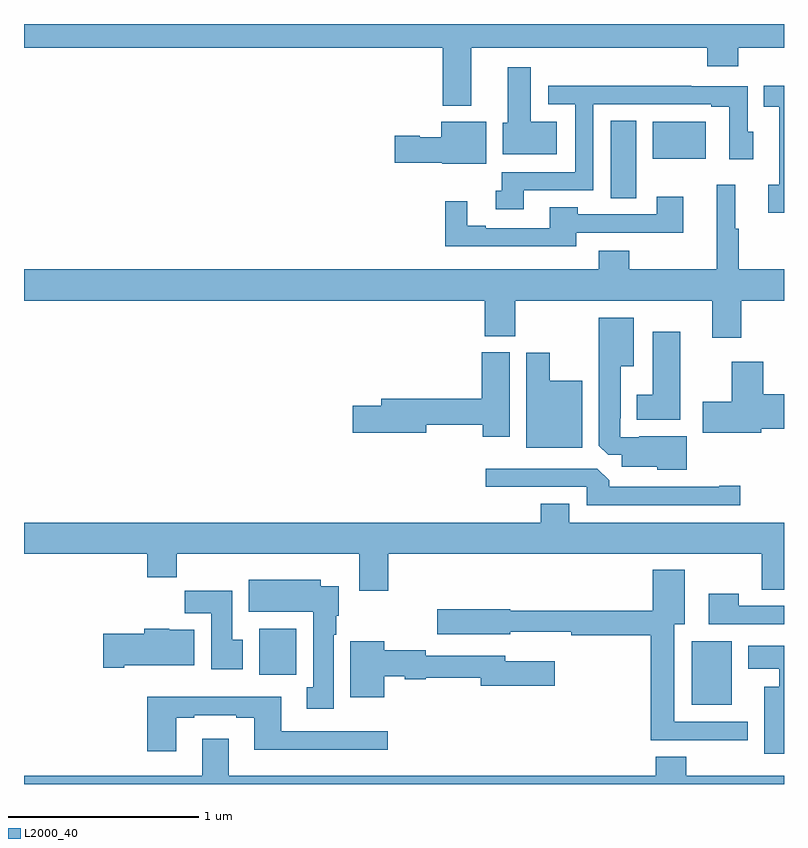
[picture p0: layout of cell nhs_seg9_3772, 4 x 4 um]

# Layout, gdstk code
import gdstk
lib = gdstk.Library(unit=1e-6, precision=1e-09)
def R(c, l, rs):  # rectangles x0, y0, x1, y1
    for r in rs: c.add(gdstk.rectangle(r[:2], r[2:], *l))
def P(c, l, *ps):  # polygons
    for p in ps: c.add(gdstk.Polygon(p, *l))
L2000_40 = (2000, 40)

nhs_seg9_3772 = lib.new_cell('nhs_seg9_3772')
R(nhs_seg9_3772, L2000_40, [(328.514,1236.917,328.726,1237.252), (326.237,1237.076,326.434,1237.318), (328.088,1239.583,328.222,1239.992), (328.31,1239.791,328.588,1239.985)])
P(nhs_seg9_3772, L2000_40, [(327.355,1240.376),(328.595,1240.376),(328.595,1240.277),(328.76,1240.277),(328.76,1240.376),(329,1240.376),(329,1240.5),(325,1240.5),(325,1240.376),(327.203,1240.376),(327.203,1240.071),(327.355,1240.071)],
  [(327.805,1239.985),(327.667,1239.985),(327.667,1240.273),(327.545,1240.273),(327.545,1239.981),(327.521,1239.981),(327.521,1239.815),(327.805,1239.815)],
  [(329,1240.175),(328.894,1240.175),(328.894,1240.065),(328.976,1240.065),(328.976,1239.654),(328.917,1239.654),(328.917,1239.506),(329,1239.506)],
  [(327.631,1239.624),(327.996,1239.624),(327.996,1240.077),(328.616,1240.077),(328.616,1240.065),(328.713,1240.065),(328.713,1239.789),(328.837,1239.789),(328.837,1239.933),(328.809,1239.933),(328.809,1240.173),(328.511,1240.173),(328.511,1240.175),(327.759,1240.175),(327.759,1240.077),(327.9,1240.077),(327.9,1239.72),(327.514,1239.72),(327.514,1239.623),(327.483,1239.623),(327.483,1239.525),(327.631,1239.525)],
  [(327.433,1239.985),(327.197,1239.985),(327.197,1239.904),(327.083,1239.904),(327.083,1239.912),(326.952,1239.912),(326.952,1239.77),(327.201,1239.77),(327.201,1239.764),(327.433,1239.764)],
  [(328.775,1239.044),(329,1239.044),(329,1239.208),(328.763,1239.208),(328.763,1239.423),(328.744,1239.423),(328.744,1239.655),(328.646,1239.655),(328.646,1239.208),(328.185,1239.208),(328.185,1239.307),(328.025,1239.307),(328.025,1239.208),(325,1239.208),(325,1239.044),(327.425,1239.044),(327.425,1238.857),(327.585,1238.857),(327.585,1239.044),(328.622,1239.044),(328.622,1238.85),(328.775,1238.85)],
  [(327.907,1239.402),(328.471,1239.402),(328.471,1239.592),(328.331,1239.592),(328.331,1239.498),(327.915,1239.498),(327.915,1239.535),(327.767,1239.535),(327.767,1239.426),(327.43,1239.426),(327.43,1239.439),(327.334,1239.439),(327.334,1239.568),(327.217,1239.568),(327.217,1239.33),(327.907,1239.33)],
  [(328.489,1238.329),(328.237,1238.329),(328.237,1238.325),(328.137,1238.325),(328.137,1238.425),(328.141,1238.425),(328.141,1238.699),(328.21,1238.699),(328.21,1238.953),(328.025,1238.953),(328.025,1238.281),(328.074,1238.232),(328.145,1238.232),(328.145,1238.171),(328.332,1238.171),(328.332,1238.153),(328.489,1238.153)],
  [(328.453,1238.881),(328.31,1238.881),(328.31,1238.548),(328.226,1238.548),(328.226,1238.417),(328.453,1238.417)],
  [(327.556,1238.772),(327.41,1238.772),(327.41,1238.528),(326.879,1238.528),(326.879,1238.492),(326.73,1238.492),(326.73,1238.35),(327.118,1238.35),(327.118,1238.392),(327.415,1238.392),(327.415,1238.328),(327.556,1238.328)],
  [(327.937,1238.623),(327.766,1238.623),(327.766,1238.77),(327.644,1238.77),(327.644,1238.27),(327.937,1238.27)],
  [(328.879,1238.369),(329,1238.369),(329,1238.552),(328.892,1238.552),(328.892,1238.722),(328.724,1238.722),(328.724,1238.511),(328.572,1238.511),(328.572,1238.348),(328.879,1238.348)],
  [(328.771,1238.069),(328.658,1238.069),(328.658,1238.064),(328.079,1238.064),(328.079,1238.098),(328.017,1238.16),(327.429,1238.16),(327.429,1238.064),(327.963,1238.064),(327.963,1237.968),(328.771,1237.968)],
  [(326.918,1237.712),(328.882,1237.712),(328.882,1237.522),(329,1237.522),(329,1237.876),(327.871,1237.876),(327.871,1237.975),(327.719,1237.975),(327.719,1237.876),(325,1237.876),(325,1237.712),(325.649,1237.712),(325.649,1237.588),(325.805,1237.588),(325.805,1237.712),(326.765,1237.712),(326.765,1237.518),(326.918,1237.518)],
  [(328.81,1236.828),(328.423,1236.828),(328.423,1237.34),(328.477,1237.34),(328.477,1237.627),(328.31,1237.627),(328.31,1237.411),(327.558,1237.411),(327.558,1237.419),(327.174,1237.419),(327.174,1237.289),(327.558,1237.289),(327.558,1237.301),(327.88,1237.301),(327.88,1237.282),(328.298,1237.282),(328.298,1236.731),(328.81,1236.731)],
  [(326.629,1237.286),(326.644,1237.286),(326.644,1237.386),(326.656,1237.386),(326.656,1237.54),(326.563,1237.54),(326.563,1237.576),(326.183,1237.576),(326.183,1237.406),(326.522,1237.406),(326.522,1237.01),(326.489,1237.01),(326.489,1236.897),(326.629,1236.897)],
  [(326.152,1237.26),(326.095,1237.26),(326.095,1237.518),(325.846,1237.518),(325.846,1237.4),(325.985,1237.4),(325.985,1237.104),(326.152,1237.104)],
  [(329,1237.437),(328.761,1237.437),(328.761,1237.501),(328.605,1237.501),(328.605,1237.341),(329,1237.341)],
  [(325.528,1237.124),(325.897,1237.124),(325.897,1237.312),(325.764,1237.312),(325.764,1237.318),(325.634,1237.318),(325.634,1237.29),(325.416,1237.29),(325.416,1237.112),(325.528,1237.112)],
  [(326.896,1237.067),(327.003,1237.067),(327.003,1237.052),(327.114,1237.052),(327.114,1237.06),(327.404,1237.06),(327.404,1237.018),(327.793,1237.018),(327.793,1237.147),(327.532,1237.147),(327.532,1237.176),(327.114,1237.176),(327.114,1237.204),(326.896,1237.204),(326.896,1237.252),(326.717,1237.252),(326.717,1236.956),(326.896,1236.956)],
  [(329,1237.228),(328.811,1237.228),(328.811,1237.106),(328.976,1237.106),(328.976,1237.012),(328.895,1237.012),(328.895,1236.66),(329,1236.66)],
  [(325.801,1236.849),(325.897,1236.849),(325.897,1236.861),(326.117,1236.861),(326.117,1236.849),(326.213,1236.849),(326.213,1236.68),(326.914,1236.68),(326.914,1236.777),(326.353,1236.777),(326.353,1236.958),(325.649,1236.958),(325.649,1236.672),(325.801,1236.672)],
  [(329,1236.544),(328.485,1236.544),(328.485,1236.643),(328.325,1236.643),(328.325,1236.544),(326.077,1236.544),(326.077,1236.739),(325.937,1236.739),(325.937,1236.544),(325,1236.544),(325,1236.5),(329,1236.5)])

lib.write_gds('nhs_seg9_3772.gds')
